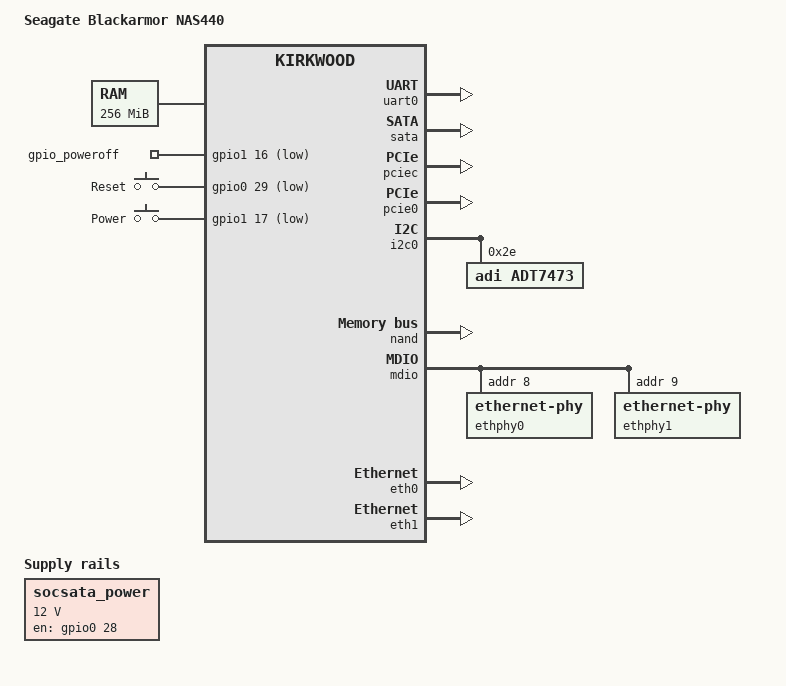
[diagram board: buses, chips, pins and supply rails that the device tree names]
// SPDX-License-Identifier: GPL-2.0+
/*
 * Device Tree file for Seagate Blackarmor NAS440
 *
 * Copyright (C) 2021 Hajo Noerenberg <hajo-uboot@noerenberg.de>
 * Copyright (C) 2015 Andreas Fischer <af@bantuX.org>
 * Copyright (C) 2014 Evgeni Dobrev <evgeni@studio-punkt.com>
 */

/dts-v1/;

#include <dt-bindings/gpio/gpio.h>
#include <dt-bindings/input/input.h>
#include "kirkwood.dtsi"
#include "kirkwood-6281.dtsi"

/ {
	model = "Seagate Blackarmor NAS440";
	compatible = "seagate,blackarmor-nas440","marvell,kirkwood-88f6281",
		     "marvell,kirkwood";

	memory { /* 256 MB */
		device_type = "memory";
		reg = <0x00000000 0x10000000>;
	};

	chosen {
		bootargs = "console=ttyS0,115200n8";
		stdout-path = &uart0;
	};

	gpio_poweroff {
		compatible = "gpio-poweroff";
		gpios = <&gpio1 16 GPIO_ACTIVE_LOW>;		/* GPIO1-16 is MPP48 */
	};

	gpio_keys {
		compatible = "gpio-keys";

		reset {
			label = "Reset";
			linux,code = <KEY_POWER>;
			gpios = <&gpio0 29 GPIO_ACTIVE_LOW>;
		};

		button {
			label = "Power";
			linux,code = <KEY_SLEEP>;
			gpios = <&gpio1 17 GPIO_ACTIVE_LOW>;	/* GPIO1-17 is MPP49 */
		};
	};

	regulators {
		compatible = "simple-bus";
		#address-cells = <1>;
		#size-cells = <0>;
		pinctrl-0 = <&pmx_power_socsata>;
		pinctrl-names = "default";

		socsata_power: regulator@1 {
			compatible = "regulator-fixed";
			reg = <1>;
			regulator-name = "SoC SATA Power";
			regulator-min-microvolt = <12000000>;
			regulator-max-microvolt = <12000000>;
			enable-active-high;
			regulator-always-on;
			regulator-boot-on;
			gpio = <&gpio0 28 GPIO_ACTIVE_HIGH>;
		};
	};
};

/*
 * Serial port routed to connector CN4
 *
 * pin 1 - TX (CPU's TX)
 * pin 4 - RX (CPU's RX)
 * pin 6 - GND
 */
&uart0 {
	status = "okay";
};

&pinctrl {
	pinctrl-0 = <&pmx_button_reset &pmx_button_power>;
	pinctrl-names = "default";

	pmx_act_sata0: pmx-act-sata0 {
		marvell,pins = "mpp15";
		marvell,function = "sata0";
	};

	pmx_act_sata1: pmx-act-sata1 {
		marvell,pins = "mpp16";
		marvell,function = "sata1";
	};

	pmx_power_socsata: pmx-power-socsata {
		marvell,pins = "mpp28";
		marvell,function = "gpio";
	};

	pmx_button_reset: pmx-button-reset {
		marvell,pins = "mpp29";
		marvell,function = "gpio";
	};

	pmx_button_power: pmx-button-power {
		marvell,pins = "mpp49";
		marvell,function = "gpio";
	};
};

&sata {
	status = "okay";
	nr-ports = <2>;
};

&pciec {
	status = "okay";
};

&pcie0 {
	status = "okay";
};

&i2c0 {
	status = "okay";

	adt7473: thermal@2e {
		compatible = "adi,adt7473";
		reg = <0x2e>;
	};
};

&nand {
	status = "okay";
};

&mdio {
	status = "okay";

	ethphy0: ethernet-phy@8 {
		 reg = <8>;
	};
	ethphy1: ethernet-phy@9 {
		 reg = <9>;
	};
};

&eth0 {
	status = "okay";

	ethernet0-port@0 {
		phy-handle = <&ethphy0>;
	};
};

&eth1 {
	status = "okay";

	ethernet1-port@0 {
		phy-handle = <&ethphy1>;
	};
};
